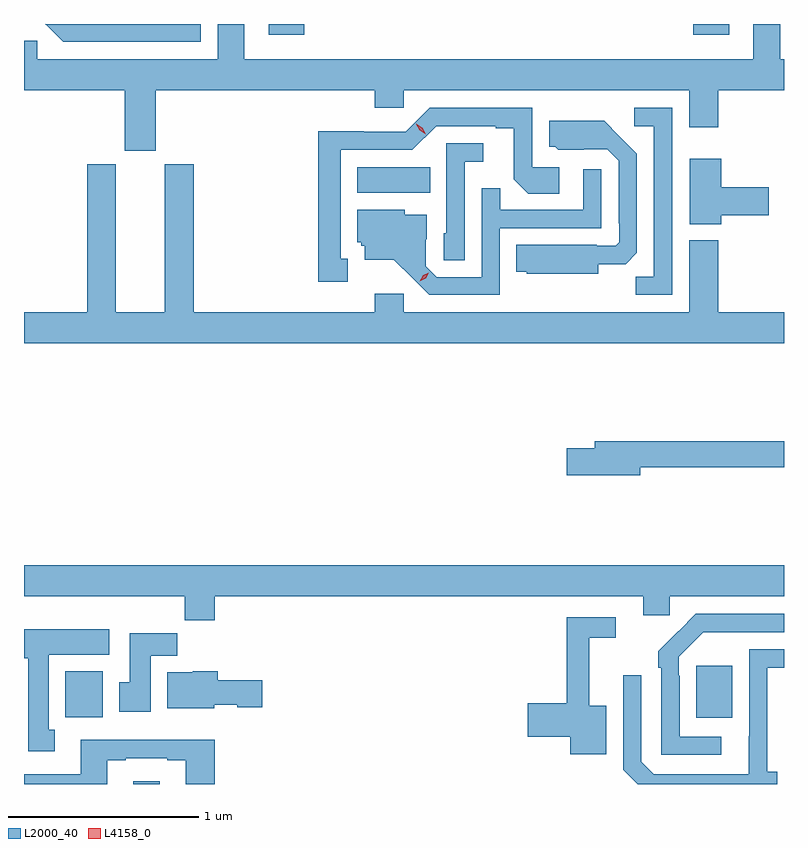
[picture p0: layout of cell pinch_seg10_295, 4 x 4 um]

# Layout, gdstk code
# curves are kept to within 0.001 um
import gdstk
lib = gdstk.Library(unit=1e-6, precision=1e-09)
def R(c, l, rs):  # rectangles x0, y0, x1, y1
    for r in rs: c.add(gdstk.rectangle(r[:2], r[2:], *l))
def P(c, l, *ps):  # polygons
    for p in ps: c.add(gdstk.Polygon(p, *l))
L2000_40 = (2000, 40)
L4158_0 = (4158, 0)

pinch_seg10_295 = lib.new_cell('pinch_seg10_295')
R(pinch_seg10_295, L2000_40, [(409.253,1300.661,409.393,1300.675), (412.217,1301.009,412.405,1301.284), (408.896,1301.012,409.093,1301.254), (410.432,1303.772,410.816,1303.906), (409.965,1304.604,410.153,1304.661), (412.201,1304.604,412.39,1304.661)])
P(pinch_seg10_295, L2000_40, [(409.372,1304.312),(410.525,1304.312),(410.525,1304.219),(410.676,1304.219),(410.676,1304.312),(412.178,1304.312),(412.178,1304.118),(412.331,1304.118),(412.331,1304.312),(412.678,1304.312),(412.678,1304.476),(412.657,1304.476),(412.657,1304.661),(412.517,1304.661),(412.517,1304.476),(409.837,1304.476),(409.837,1304.661),(409.697,1304.661),(409.697,1304.476),(408.747,1304.476),(408.747,1304.574),(408.678,1304.574),(408.678,1304.312),(409.208,1304.312),(409.208,1303.995),(409.372,1303.995)],
  [(409.608,1304.661),(408.789,1304.661),(408.792,1304.658),(408.793,1304.659),(408.884,1304.568),(409.608,1304.568)],
  [(412.089,1304.22),(411.891,1304.22),(411.891,1304.124),(411.993,1304.124),(411.993,1303.331),(411.898,1303.331),(411.898,1303.236),(412.089,1303.236)],
  [(410.383,1303.425),(410.344,1303.425),(410.344,1303.998),(410.721,1303.998),(410.847,1304.124),(411.161,1304.124),(411.161,1304.112),(411.255,1304.112),(411.255,1303.844),(411.331,1303.768),(411.496,1303.768),(411.496,1303.908),(411.354,1303.908),(411.354,1304.22),(410.814,1304.22),(410.688,1304.094),(410.466,1304.094),(410.466,1304.096),(410.226,1304.096),(410.226,1303.305),(410.383,1303.305)],
  [(411.7,1303.397),(411.844,1303.397),(411.903,1303.456),(411.903,1303.978),(411.731,1304.152),(411.443,1304.152),(411.443,1304.016),(411.474,1304.016),(411.49,1304),(411.747,1304.001),(411.807,1303.941),(411.807,1303.612),(411.81,1303.612),(411.81,1303.512),(411.792,1303.494),(411.692,1303.494),(411.692,1303.498),(411.268,1303.498),(411.268,1303.358),(411.324,1303.358),(411.324,1303.346),(411.7,1303.346)],
  [(410.997,1303.937),(411.094,1303.937),(411.094,1304.034),(410.901,1304.034),(410.901,1303.56),(410.886,1303.56),(410.886,1303.417),(410.997,1303.417)],
  [(412.348,1303.655),(412.597,1303.655),(412.597,1303.802),(412.348,1303.802),(412.348,1303.951),(412.181,1303.951),(412.181,1303.607),(412.348,1303.607)],
  [(412.678,1303.144),(412.331,1303.144),(412.331,1303.522),(412.178,1303.522),(412.178,1303.144),(410.676,1303.144),(410.676,1303.24),(410.525,1303.24),(410.525,1303.144),(409.571,1303.144),(409.571,1303.923),(409.418,1303.923),(409.418,1303.144),(409.162,1303.144),(409.162,1303.923),(409.01,1303.923),(409.01,1303.144),(408.678,1303.144),(408.678,1302.98),(412.678,1302.98)],
  [(411.183,1303.587),(411.717,1303.587),(411.717,1303.897),(411.621,1303.897),(411.621,1303.683),(411.185,1303.683),(411.185,1303.796),(411.087,1303.796),(411.087,1303.329),(410.85,1303.329),(410.793,1303.386),(410.793,1303.528),(410.797,1303.528),(410.797,1303.657),(410.682,1303.657),(410.682,1303.684),(410.432,1303.684),(410.432,1303.512),(410.454,1303.512),(410.454,1303.494),(410.471,1303.494),(410.471,1303.421),(410.623,1303.421),(410.81,1303.236),(411.183,1303.236)],
  [(411.922,1302.328),(412.678,1302.328),(412.678,1302.464),(411.683,1302.464),(411.683,1302.428),(411.534,1302.428),(411.534,1302.286),(411.922,1302.286)],
  [(409.682,1301.648),(411.938,1301.648),(411.938,1301.55),(412.077,1301.55),(412.077,1301.648),(412.678,1301.648),(412.678,1301.812),(408.678,1301.812),(408.678,1301.648),(409.525,1301.648),(409.525,1301.524),(409.682,1301.524)],
  [(412.348,1300.911),(412.128,1300.911),(412.128,1301.231),(412.125,1301.231),(412.125,1301.331),(412.254,1301.46),(412.678,1301.46),(412.678,1301.556),(412.214,1301.556),(412.017,1301.361),(412.017,1301.273),(412.032,1301.273),(412.032,1300.815),(412.348,1300.815)],
  [(411.742,1301.074),(411.653,1301.074),(411.653,1301.43),(411.793,1301.43),(411.793,1301.538),(411.535,1301.538),(411.535,1301.087),(411.33,1301.087),(411.33,1300.909),(411.554,1300.909),(411.554,1300.817),(411.742,1300.817)],
  [(408.841,1300.946),(408.808,1300.946),(408.808,1301.342),(409.126,1301.342),(409.126,1301.476),(408.678,1301.476),(408.678,1301.322),(408.701,1301.322),(408.701,1300.833),(408.841,1300.833)],
  [(409.345,1301.336),(409.484,1301.336),(409.484,1301.455),(409.235,1301.455),(409.235,1301.196),(409.178,1301.196),(409.178,1301.04),(409.345,1301.04)],
  [(412.642,1300.726),(412.59,1300.726),(412.59,1301.274),(412.678,1301.274),(412.678,1301.37),(412.494,1301.37),(412.493,1300.713),(411.993,1300.713),(411.927,1300.779),(411.927,1301.233),(411.831,1301.233),(411.831,1300.737),(411.907,1300.661),(412.642,1300.661)],
  [(409.68,1301.078),(409.8,1301.078),(409.8,1301.066),(409.933,1301.066),(409.933,1301.208),(409.697,1301.208),(409.697,1301.254),(409.566,1301.254),(409.566,1301.248),(409.433,1301.248),(409.433,1301.06),(409.68,1301.06)],
  [(409.117,1300.785),(409.213,1300.785),(409.213,1300.797),(409.433,1300.797),(409.433,1300.785),(409.529,1300.785),(409.529,1300.661),(409.682,1300.661),(409.682,1300.894),(408.977,1300.894),(408.977,1300.713),(408.678,1300.713),(408.678,1300.661),(409.117,1300.661)])
P(pinch_seg10_295, L4158_0, [(410.762,1303.308),(410.762,1303.308),(410.779,1303.338),(410.809,1303.353),(410.809,1303.353),(410.809,1303.353),(410.792,1303.323),(410.762,1303.308)],
  [(410.792,1304.082),(410.76,1304.102),(410.743,1304.134),(410.743,1304.135),(410.743,1304.135),(410.775,1304.115),(410.792,1304.082),(410.792,1304.082)])

lib.write_gds('pinch_seg10_295.gds')
